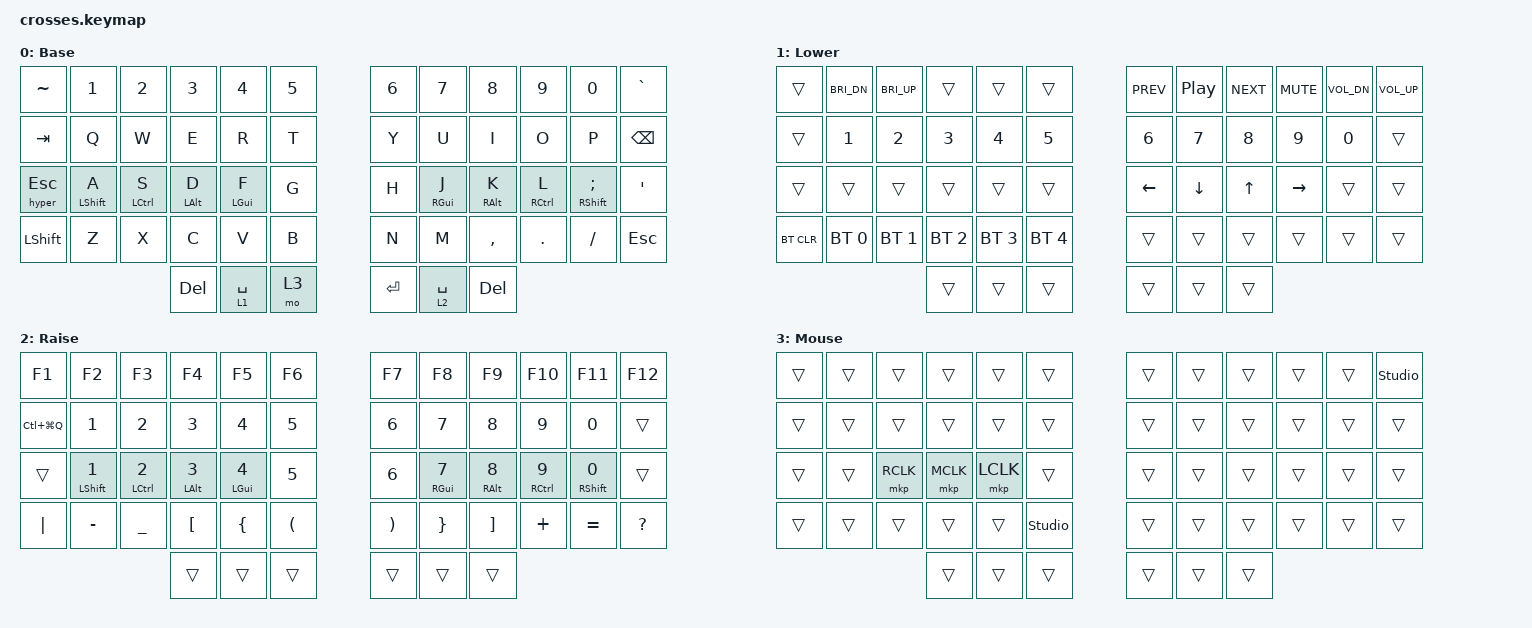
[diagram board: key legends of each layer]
#include <behaviors.dtsi>
#include <dt-bindings/zmk/bt.h>
#include <dt-bindings/zmk/keys.h>
#include <dt-bindings/zmk/pointing.h>

/ {
    chosen { zmk,physical-layout = &gggw_crosses_54_layout; };

    macros {
        hyper: hyper {
            compatible = "zmk,behavior-macro";
            #binding-cells = <0>;
            bindings = <&macro_press &kp LCTRL &kp LSHIFT &kp LALT &kp LGUI>
                     , <&macro_pause_for_release>
                     , <&macro_release &kp LCTRL &kp LSHIFT &kp LALT &kp LGUI>;
        };
    };

    behaviors {
        esc_hyper: esc_hyper {
            compatible = "zmk,behavior-hold-tap";
            #binding-cells = <2>;
            flavor = "tap-preferred";
            tapping-term-ms = <200>;
            bindings = <&hyper>, <&kp>;
        };
        hml: home_row_mod_left {
            compatible = "zmk,behavior-hold-tap";
            #binding-cells = <2>;
            flavor = "tap-preferred";
            require-prior-idle-ms = <250>;
            tapping-term-ms = <300>;
            quick-tap-ms = <175>;
            bindings = <&kp>, <&kp>;
            hold-trigger-key-positions = <6 7 8 9 10 11 18 19 20 21 22 23 30 31 32 33 34 35 42 43 44 45 46 47 51 52 53>;
            hold-trigger-on-release;
        };
        hmr: home_row_mod_right {
            compatible = "zmk,behavior-hold-tap";
            #binding-cells = <2>;
            flavor = "tap-preferred";
            require-prior-idle-ms = <250>;
            tapping-term-ms = <300>;
            quick-tap-ms = <175>;
            bindings = <&kp>, <&kp>;
            hold-trigger-key-positions = <0 1 2 3 4 5 12 13 14 15 16 17 24 25 26 27 28 29 36 37 38 39 40 41 48 49 50>;
            hold-trigger-on-release;
        };
    };

    keymap {
        compatible = "zmk,keymap";
        default_layer {
            display-name = "Base";
            bindings = <
                &kp TILDE &kp N1 &kp N2 &kp N3 &kp N4 &kp N5   &kp N6 &kp N7  &kp N8     &kp N9   &kp N0    &kp GRAVE
                &kp TAB   &kp Q  &kp W  &kp E  &kp R  &kp T    &kp Y &kp U  &kp I     &kp O   &kp P    &kp BSPC
                &esc_hyper 0 ESC &hml LSHIFT A  &hml LCTRL S  &hml LALT D  &hml LGUI F  &kp G    &kp H &hmr RGUI J  &hmr RALT K     &hmr RCTRL L   &hmr RSHIFT SEMI &kp SQT
                &kp LSHFT &kp Z  &kp X  &kp C  &kp V  &kp B    &kp N &kp M  &kp COMMA &kp DOT &kp FSLH &kp ESC
                            &kp DEL &lt 1 SPACE &mo 3   &kp RET &lt 2 SPACE &kp DEL
            >;
        };

        lower_layer {
            display-name = "Lower";
            bindings = <
                &trans      &kp C_BRI_DN  &kp C_BRI_UP  &trans        &trans        &trans            &kp C_PREV &kp C_PP   &kp C_NEXT &kp C_MUTE  &kp C_VOL_DN &kp C_VOL_UP
                &trans      &kp N1        &kp N2        &kp N3        &kp N4        &kp N5            &kp N6     &kp N7     &kp N8     &kp N9      &kp N0       &trans
                &trans      &trans        &trans        &trans        &trans        &trans            &kp LEFT   &kp DOWN   &kp UP     &kp RIGHT   &trans       &trans
                &bt BT_CLR  &bt BT_SEL 0  &bt BT_SEL 1  &bt BT_SEL 2  &bt BT_SEL 3  &bt BT_SEL 4    &trans     &trans     &trans     &trans      &trans       &trans
                                                         &trans        &trans        &trans            &trans     &trans     &trans
            >;
        };

        raise_layer {
            display-name = "Raise";
            bindings = <
                &kp F1 &kp F2 &kp F3 &kp F4 &kp F5 &kp F6   &kp F7 &kp F8 &kp F9 &kp F10 &kp F11 &kp F12
                &kp LC(LG(Q))  &kp N1          &kp N2          &kp N3         &kp N4         &kp N5      &kp N6  &kp N7         &kp N8         &kp N9          &kp N0           &trans
                &trans         &hml LSHIFT N1  &hml LCTRL N2   &hml LALT N3   &hml LGUI N4   &kp N5      &kp N6  &hmr RGUI N7   &hmr RALT N8   &hmr RCTRL N9   &hmr RSHIFT N0   &trans
                &kp PIPE &kp MINUS &kp UNDER &kp LBKT &kp LBRC &kp LPAR   &kp RPAR &kp RBRC &kp RBKT &kp PLUS &kp EQUAL &kp QMARK
                                        &trans &trans &trans   &trans &trans &trans
            >;
        };

        mouse_layer {
            display-name = "Mouse";
            bindings = <
                &trans &trans  &trans     &trans     &trans     &trans  &trans  &trans  &trans  &trans  &trans &studio_unlock
                &trans &trans  &trans     &trans     &trans     &trans  &trans  &trans  &trans  &trans  &trans &trans
                &trans &trans  &mkp RCLK  &mkp MCLK  &mkp LCLK  &trans  &trans  &trans  &trans  &trans  &trans &trans
                &trans &trans  &trans     &trans     &trans     &studio_unlock  &trans  &trans  &trans  &trans  &trans &trans
                                &trans     &trans     &trans  &trans  &trans  &trans
            >;
        };
    };
};

// Reduce left trackball scroll sensitivity by 50%
&trackball_peripheral_split {
  input-processors
    = <&zip_xy_to_scroll_mapper>
    , <&zip_scroll_scaler 1 4>  // 1:4 ratio = 50% reduction from current 1:2
    , <&zip_ble_report_rate_limit>;
};
